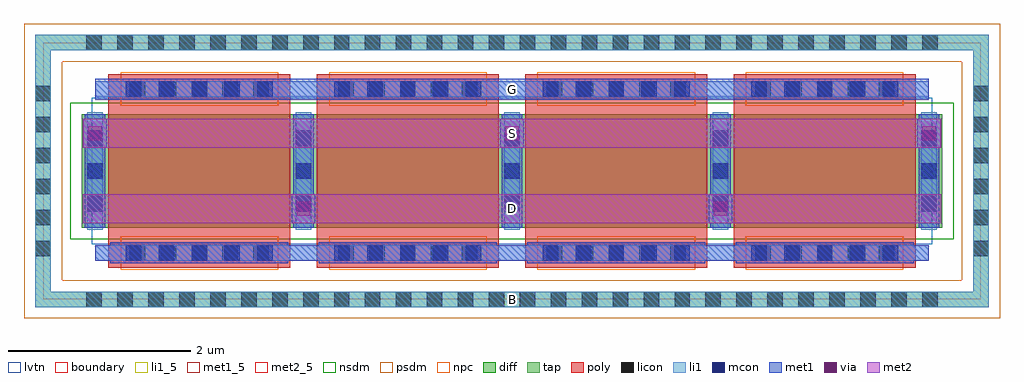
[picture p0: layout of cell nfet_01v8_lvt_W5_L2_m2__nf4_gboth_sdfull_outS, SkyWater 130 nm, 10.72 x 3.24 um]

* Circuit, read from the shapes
.subckt nfet_01v8_lvt_W5_L2_m2__nf4_gboth_sdfull_outS B D G S
XM1 D G S B sky130_fd_pr__nfet_01v8_lvt w=1.25 l=2 m=4
.ends

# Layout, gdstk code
import gdstk
lib = gdstk.Library(unit=1e-6, precision=1e-09)
def R(c, l, rs):  # rectangles x0, y0, x1, y1
    for r in rs: c.add(gdstk.rectangle(r[:2], r[2:], *l))
def A(c, l, x, y, w, h, nx, ny, dx, dy):  # array of equal rectangles
    R(c, l, [(x+i*dx, y+j*dy, x+i*dx+w, y+j*dy+h) for i in range(nx) for j in range(ny)])
diff = (65, 20)
tap = (65, 44)
poly = (66, 20)
licon = (66, 44)
li1_5 = (67, 5)
li1 = (67, 20)
mcon = (67, 44)
met1_5 = (68, 5)
met1 = (68, 20)
via = (68, 44)
met2_5 = (69, 5)
met2 = (69, 20)
nsdm = (93, 44)
psdm = (94, 20)
npc = (95, 20)
lvtn = (125, 44)
boundary = (235, 4)

sky130_fd_pr__nfet_01v8_ = lib.new_cell('sky130_fd_pr__nfet_01v8_lvt_4TLS5J')
R(sky130_fd_pr__nfet_01v8_, diff, [(-4.725,-0.625,4.725,0.625)])
R(sky130_fd_pr__nfet_01v8_, tap, [(-5.235,-1.495,5.235,-1.325), (-5.235,-1.325,-5.065,1.325), (5.065,-1.325,5.235,1.325), (-5.235,1.325,5.235,1.495)])
A(sky130_fd_pr__nfet_01v8_, poly, -4.435, -1.065, 2, 2.13, 4, 1, 2.29, 0)
A(sky130_fd_pr__nfet_01v8_, licon, -4.675, -1.495, 0.17, 0.17, 28, 2, 0.34, 2.82)
A(sky130_fd_pr__nfet_01v8_, licon, -4.2, -0.985, 0.17, 0.17, 5, 2, 0.34, 1.8)
A(sky130_fd_pr__nfet_01v8_, licon, -1.91, -0.985, 0.17, 0.17, 5, 2, 0.34, 1.8)
A(sky130_fd_pr__nfet_01v8_, licon, 0.38, -0.985, 0.17, 0.17, 5, 2, 0.34, 1.8)
A(sky130_fd_pr__nfet_01v8_, licon, 2.67, -0.985, 0.17, 0.17, 5, 2, 0.34, 1.8)
A(sky130_fd_pr__nfet_01v8_, licon, -5.235, -0.935, 0.17, 0.17, 1, 6, 0, 0.34)
A(sky130_fd_pr__nfet_01v8_, licon, 5.065, -0.935, 0.17, 0.17, 1, 6, 0, 0.34)
A(sky130_fd_pr__nfet_01v8_, licon, -4.665, -0.425, 0.17, 0.17, 5, 3, 2.29, 0.34)
A(sky130_fd_pr__nfet_01v8_, li1, -4.665, -0.645, 0.17, 1.29, 5, 1, 2.29, 0)
R(sky130_fd_pr__nfet_01v8_, li1, [(-5.235,-1.495,5.235,-1.325), (-5.235,-1.325,-5.065,1.325), (5.065,-1.325,5.235,1.325), (-4.58,-0.985,4.58,-0.815), (-4.58,0.815,4.58,0.985), (-5.235,1.325,5.235,1.495)])
A(sky130_fd_pr__nfet_01v8_, mcon, -4.24, -0.985, 0.17, 0.17, 5, 2, 0.36, 1.8)
A(sky130_fd_pr__nfet_01v8_, mcon, -1.95, -0.985, 0.17, 0.17, 5, 2, 0.36, 1.8)
A(sky130_fd_pr__nfet_01v8_, mcon, 0.34, -0.985, 0.17, 0.17, 5, 2, 0.36, 1.8)
A(sky130_fd_pr__nfet_01v8_, mcon, 2.63, -0.985, 0.17, 0.17, 5, 2, 0.36, 1.8)
A(sky130_fd_pr__nfet_01v8_, mcon, -4.665, -0.445, 0.17, 0.17, 5, 3, 2.29, 0.36)
A(sky130_fd_pr__nfet_01v8_, met1, -4.415, -1.015, 1.96, 0.03, 4, 2, 2.29, 0.2)
A(sky130_fd_pr__nfet_01v8_, met1, -4.695, -0.625, 0.23, 1.25, 5, 1, 2.29, 0)
A(sky130_fd_pr__nfet_01v8_, met1, -4.415, 0.785, 1.96, 0.03, 4, 2, 2.29, 0.2)
R(sky130_fd_pr__nfet_01v8_, met1, [(-4.58,-0.985,4.58,-0.815), (-4.58,0.815,4.58,0.985)])
R(sky130_fd_pr__nfet_01v8_, nsdm, [(-4.85,-0.75,4.85,0.75)])
R(sky130_fd_pr__nfet_01v8_, psdm, [(-5.36,-1.62,5.36,-1.2), (-5.36,-1.2,-4.94,1.2), (4.94,-1.2,5.36,1.2), (-5.36,1.2,5.36,1.62)])
A(sky130_fd_pr__nfet_01v8_, npc, -4.3, -1.085, 1.73, 0.37, 4, 2, 2.29, 1.8)
R(sky130_fd_pr__nfet_01v8_, lvtn, [(-4.615,-0.805,4.615,0.805)])
R(sky130_fd_pr__nfet_01v8_, boundary, [(-5.15,-1.41,5.15,1.41)])
sky130_fd_pr__nfet_01v8_.add(gdstk.Label('B', (0,-1.41), layer=67, texttype=5))
sky130_fd_pr__nfet_01v8_.add(gdstk.Label('D0', (-4.58,0), layer=67, texttype=5))
sky130_fd_pr__nfet_01v8_.add(gdstk.Label('G', (3.435,0.9), layer=67, texttype=5))
sky130_fd_pr__nfet_01v8_.add(gdstk.Label('G', (1.145,0.9), layer=67, texttype=5))
sky130_fd_pr__nfet_01v8_.add(gdstk.Label('G', (-1.145,0.9), layer=67, texttype=5))
sky130_fd_pr__nfet_01v8_.add(gdstk.Label('G', (-3.435,0.9), layer=67, texttype=5))
sky130_fd_pr__nfet_01v8_.add(gdstk.Label('S1', (-2.29,0), layer=67, texttype=5))
sky130_fd_pr__nfet_01v8_.add(gdstk.Label('D2', (0,0), layer=67, texttype=5))
sky130_fd_pr__nfet_01v8_.add(gdstk.Label('S3', (2.29,0), layer=67, texttype=5))

nfet_01v8_lvt_w5_l2_m2__ = lib.new_cell('nfet_01v8_lvt_W5_L2_m2__nf4_gboth_sdfull_outS')
R(nfet_01v8_lvt_w5_l2_m2__, li1_5, [(5.065,-0.085,5.235,0.085)])
R(nfet_01v8_lvt_w5_l2_m2__, li1, [(5.065,-0.085,5.235,0.085)])
R(nfet_01v8_lvt_w5_l2_m2__, met1_5, [(0.57,2.195,9.73,2.425)])
A(nfet_01v8_lvt_w5_l2_m2__, met1, 0.44, 1.665, 0.26, 0.32, 3, 1, 4.58, 0)
R(nfet_01v8_lvt_w5_l2_m2__, met1, [(2.73,0.835,2.99,1.155), (7.31,0.835,7.57,1.155), (0.57,2.195,9.73,2.425)])
A(nfet_01v8_lvt_w5_l2_m2__, via, 0.495, 1.75, 0.15, 0.15, 3, 1, 4.58, 0)
R(nfet_01v8_lvt_w5_l2_m2__, via, [(2.785,0.92,2.935,1.07), (7.365,0.92,7.515,1.07)])
R(nfet_01v8_lvt_w5_l2_m2__, met2_5, [(0.435,0.835,9.865,1.155), (0.435,1.665,9.865,1.985)])
R(nfet_01v8_lvt_w5_l2_m2__, met2, [(0.435,0.835,9.865,1.155), (0.435,1.665,9.865,1.985)])
nfet_01v8_lvt_w5_l2_m2__.add(gdstk.Reference(sky130_fd_pr__nfet_01v8_, (5.15,1.41)))
nfet_01v8_lvt_w5_l2_m2__.add(gdstk.Label('S', (5.15,1.825), layer=69, texttype=5))
nfet_01v8_lvt_w5_l2_m2__.add(gdstk.Label('D', (5.15,0.995), layer=69, texttype=5))
nfet_01v8_lvt_w5_l2_m2__.add(gdstk.Label('G', (5.15,2.31), layer=68, texttype=5))
nfet_01v8_lvt_w5_l2_m2__.add(gdstk.Label('B', (5.15,0), layer=67, texttype=5))

lib.write_gds('nfet_01v8_lvt_W5_L2_m2__nf4_gboth_sdfull_outS.gds')
